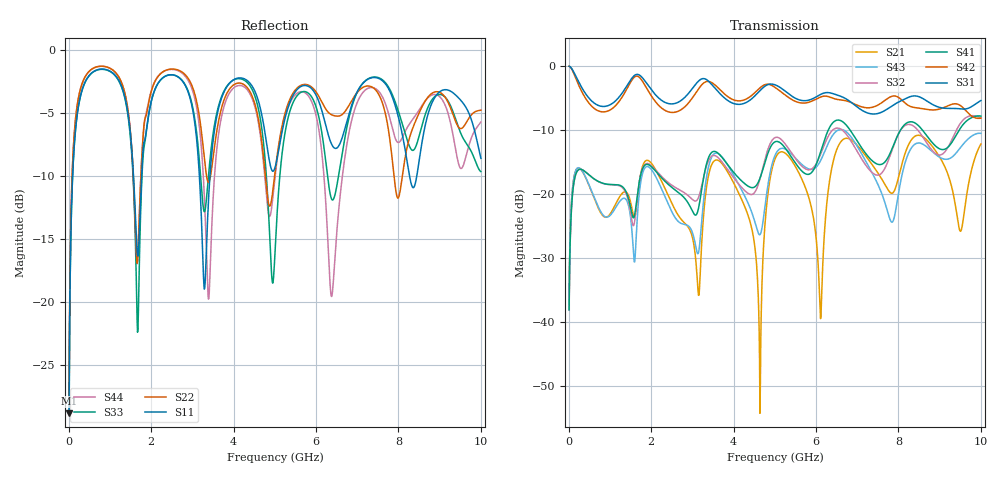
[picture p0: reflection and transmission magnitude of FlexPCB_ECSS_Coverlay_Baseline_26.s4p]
! TOUCHSTONE file generated by CST MICROWAVE STUDIO
! Date and time: Sun Jul  5 19:09:48 2026
! Project name: FlexPCB_ECSS_Coverlay_Baseline.cst
! Parameters = {Gap=1; GroundW=8.2; Hadh=0.025; Hcov=0.025; Hsub=0.1; L=50; Tcu=0.035; W=0.22}
! Header version: 2024
! Port assignment regex: !\s*Touchstone port\s*([0-9]+)\s*=\s*(CST MWS port|CST DES external port|CST DES block port)\s*(.+)\s* \(\"(.*)\"\)(\s*mode\s*([0-9]+))?.*
! Touchstone port assignment:
! Touchstone port 1 = CST MWS port 1 ("")
! Touchstone port 2 = CST MWS port 2 ("")
! Touchstone port 3 = CST MWS port 3 ("")
! Touchstone port 4 = CST MWS port 4 ("")
# GHz S MA R 50
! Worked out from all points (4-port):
!   1002 points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, 10 MHz to 10 GHz, reference 50 ohm
!   strongest paths, dB at 10 MHz, 2.51 GHz, 5.01 GHz, 7.503 GHz, 10 GHz:
!     S31: 0.0, -5.9, -2.9, -7.4, -5.4
!     S42: 0.0, -7.3, -3.4, -6.1, -8.2
!     S41: -38.1, -19.0, -11.8, -15.4, -7.8
!     S32: -38.1, -18.7, -11.2, -17.1, -8.1
!     S43: -37.2, -22.9, -13.9, -18.5, -10.5
!     S21: -37.2, -21.6, -14.5, -16.7, -12.2
!   lowest |S11| = -28.9 dB at 10 MHz (marker M1), VSWR 1.07, Z = 49.8 - j3.59 ohm
!   |S11| at or under -10 dB: 1.572 GHz to 1.77 GHz (197.8 MHz wide, 11.8 % of centre); 3.171 GHz to 3.427 GHz (256 MHz wide, 7.76 % of centre); 8.269 GHz to 8.445 GHz (176.5 MHz wide, 2.11 % of centre)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
0.01  0.03597 -91.3  0.01385 85.1  0.9981 -2.5  0.01243 85.2
      0.01385 85.1  0.0409 -91.7  0.01243 85.2  0.9979 -2.7
      0.9981 -2.5  0.01243 85.2  0.03597 -91.3  0.01385 85.1
      0.01243 85.2  0.9979 -2.7  0.01385 85.1  0.04089 -91.7
0.54  0.8062 -164.6  0.107 -25.3  0.5401 -74.0  0.1369 -57.5
      0.107 -25.3  0.8354 -166.6  0.1368 -57.7  0.4921 -75.8
      0.5401 -74.0  0.1368 -57.7  0.805 -165.4  0.1084 -26.8
      0.1369 -57.5  0.4921 -75.8  0.1084 -26.8  0.8348 -167.0
1.65  0.1682 155.4  0.08228 28.7  0.8608 -179.2  0.08954 -132.0
      0.08228 28.7  0.1466 165.0  0.08556 -125.4  0.835 178.0
      0.8608 -179.2  0.08556 -125.4  0.1008 139.4  0.05467 50.7
      0.08954 -132.0  0.835 178.0  0.05467 50.7  0.1447 164.9
3.26  0.1394 143.0  0.06092 67.2  0.7981 2.6  0.1266 79.7
      0.06092 67.2  0.4151 142.4  0.1294 66.3  0.7306 11.9
      0.7981 2.6  0.1294 66.3  0.2403 158.5  0.08093 56.8
      0.1266 79.7  0.7306 11.9  0.08093 56.8  0.327 116.0
4.64  0.5956 153.3  0.001927 -132.1  0.6422 -139.4  0.1326 -79.7
      0.001927 -132.1  0.4873 140.9  0.1312 -70.6  0.6753 -147.0
      0.6422 -139.4  0.1312 -70.6  0.5434 132.7  0.04806 -165.2
      0.1326 -79.7  0.6753 -147.0  0.04806 -165.2  0.4709 141.2
4.91  0.3388 165.5  0.145 51.1  0.7234 -178.7  0.2369 -113.5
      0.145 51.1  0.2475 -179.3  0.2553 -109.7  0.7102 171.4
      0.7234 -178.7  0.2553 -109.7  0.1396 142.1  0.1589 65.7
      0.2369 -113.5  0.7102 171.4  0.1589 65.7  0.228 -177.0
10  0.3712 151.0  0.2456 -15.1  0.5373 -13.5  0.4063 29.6
    0.2456 -15.1  0.5768 160.1  0.3924 35.8  0.3913 -38.0
    0.5373 -13.5  0.3924 35.8  0.3289 171.2  0.2975 32.7
    0.4063 29.6  0.3913 -38.0  0.2975 32.7  0.5177 -159.6
